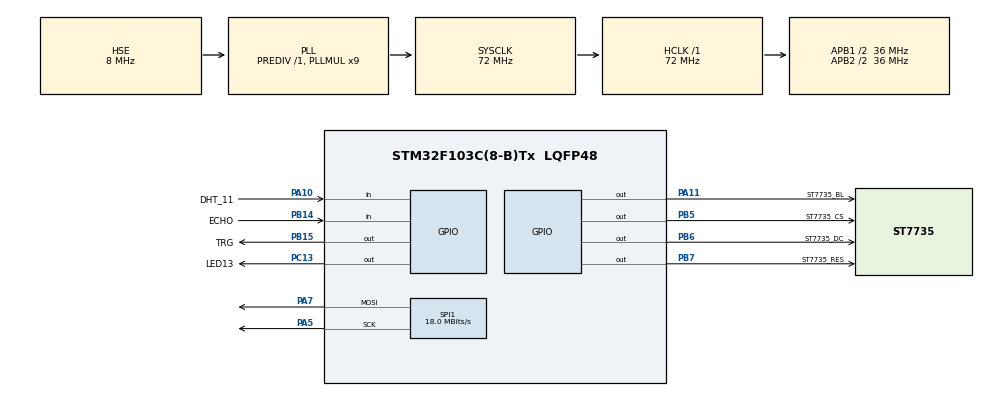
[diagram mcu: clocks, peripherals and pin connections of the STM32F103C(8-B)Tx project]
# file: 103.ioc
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Dma.Request0=SPI1_TX
Dma.SPI1_TX.0.Direction=DMA_MEMORY_TO_PERIPH
Dma.SPI1_TX.0.Instance=DMA1_Channel3
Dma.SPI1_TX.0.MemDataAlignment=DMA_MDATAALIGN_BYTE
Dma.SPI1_TX.0.MemInc=DMA_MINC_ENABLE
Dma.SPI1_TX.0.Mode=DMA_NORMAL
Dma.SPI1_TX.0.PeriphDataAlignment=DMA_PDATAALIGN_BYTE
Dma.SPI1_TX.0.PeriphInc=DMA_PINC_DISABLE
Dma.SPI1_TX.0.Priority=DMA_PRIORITY_LOW
Mcu.Family=STM32F1
Mcu.Name=STM32F103C(8-B)Tx
Mcu.Package=LQFP48
NVIC.DMA1_Channel3_IRQn=true\:0\:0\:false\:false\:true\:false\:true\:true
NVIC.PriorityGroup=NVIC_PRIORITYGROUP_4
NVIC.TIM1_UP_IRQn=true\:0\:0\:false\:false\:true\:true\:true\:true
PA10.GPIO_Label=DHT_11
PA10.GPIO_PuPd=GPIO_PULLUP
PA10.Signal=GPIO_Input
PA11.GPIO_Label=ST7735_BL
PA11.GPIO_PuPd=GPIO_PULLUP
PA11.Signal=GPIO_Output
PA13.Mode=Serial_Wire
PA13.Signal=SYS_JTMS-SWDIO
PA14.Mode=Serial_Wire
PA14.Signal=SYS_JTCK-SWCLK
PA5.Mode=TX_Only_Simplex_Unidirect_Master
PA5.Signal=SPI1_SCK
PA7.Mode=TX_Only_Simplex_Unidirect_Master
PA7.Signal=SPI1_MOSI
PB14.GPIO_Label=ECHO
PB14.Signal=GPIO_Input
PB15.GPIO_Label=TRG
PB15.Signal=GPIO_Output
PB5.GPIO_Label=ST7735_CS
PB5.GPIO_PuPd=GPIO_PULLUP
PB5.Signal=GPIO_Output
PB6.GPIO_Label=ST7735_DC
PB6.GPIO_PuPd=GPIO_PULLUP
PB6.Signal=GPIO_Output
PB7.GPIO_Label=ST7735_RES
PB7.GPIO_PuPd=GPIO_PULLUP
PB7.Signal=GPIO_Output
PC13-TAMPER-RTC.GPIO_Label=LED13
PC13-TAMPER-RTC.Signal=GPIO_Output
PD0-OSC_IN.Mode=HSE-External-Oscillator
PD0-OSC_IN.Signal=RCC_OSC_IN
PD1-OSC_OUT.Mode=HSE-External-Oscillator
PD1-OSC_OUT.Signal=RCC_OSC_OUT
ProjectManager.HeapSize=0x200
ProjectManager.StackSize=0x400
ProjectManager.TargetToolchain=STM32CubeIDE
RCC.AHBFreq_Value=72000000
RCC.APB1CLKDivider=RCC_HCLK_DIV2
RCC.APB1Freq_Value=36000000
RCC.APB1TimFreq_Value=72000000
RCC.APB2CLKDivider=RCC_HCLK_DIV2
RCC.APB2Freq_Value=36000000
RCC.APB2TimFreq_Value=72000000
RCC.HCLKFreq_Value=72000000
RCC.PLLMUL=RCC_PLL_MUL9
RCC.PLLSourceVirtual=RCC_PLLSOURCE_HSE
RCC.SYSCLKFreq_VALUE=72000000
RCC.SYSCLKSource=RCC_SYSCLKSOURCE_PLLCLK
RCC.USBFreq_Value=72000000
SPI1.BaudRatePrescaler=SPI_BAUDRATEPRESCALER_2
SPI1.CalculateBaudRate=18.0 MBits/s
SPI1.Direction=SPI_DIRECTION_2LINES
SPI1.Mode=SPI_MODE_MASTER
SPI1.VirtualType=VM_MASTER
TIM1.Period=50000
TIM1.Prescaler=719
TIM2.Prescaler=71
VP_TIM1_VS_ClockSourceINT.Mode=Internal
VP_TIM2_VS_ClockSourceINT.Mode=Internal
board=custom

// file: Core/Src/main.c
/* USER CODE BEGIN Header */
/**
  ******************************************************************************
  * @file           : main.c
  * @brief          : Main program body
  ******************************************************************************
  * @attention
  *
  * Copyright (c) 2023 STMicroelectronics.
  * All rights reserved.
  *
  * This software is licensed under terms that can be found in the LICENSE file
  * in the root directory of this software component.
  * If no LICENSE file comes with this software, it is provided AS-IS.
  *
  ******************************************************************************
  */
/* USER CODE END Header */
#include "main.h"

/* USER CODE BEGIN Includes */

#include "st7735.h"
#include "st7735_cfg.h"
#include "fonts.h"
#include "testimg.h"
#include "DHT.h"
#include <stdio.h>
#include <string.h>

/* USER CODE END Includes */

 SPI_HandleTypeDef hspi1;
DMA_HandleTypeDef hdma_spi1_tx;

TIM_HandleTypeDef htim1;
TIM_HandleTypeDef htim2;

/* USER CODE BEGIN PV */

uint8_t r = 0;
static DHT_sensor livingRoom = {GPIOA, GPIO_PIN_10, DHT11, GPIO_PULLUP};

/* USER CODE END PV */

void SystemClock_Config(void);
static void MX_GPIO_Init(void);
static void MX_TIM1_Init(void);
static void MX_DMA_Init(void);
static void MX_SPI1_Init(void);
static void MX_TIM2_Init(void);

/* USER CODE BEGIN 0 */
void lcd (void)
{
	 ST7735_SetRotation(r);

	 // Check fonts
	 ST7735_FillScreen(ST7735_BLACK);
	 ST7735_DrawString(0, 0, "Stariy", Font_7x10, ST7735_RED, ST7735_BLACK);
	 ST7735_DrawString(0, 3*10, "and Maks", Font_11x18, ST7735_GREEN, ST7735_BLACK);
	 ST7735_DrawString(0, 3*10+3*18, "Pidors", Font_16x26, ST7735_BLUE, ST7735_BLACK);
	 HAL_Delay(2000);

	 // Check colors
	 ST7735_FillScreen(ST7735_BLACK);
	 ST7735_DrawString(0, 0, "STARIY", Font_11x18, ST7735_WHITE, ST7735_BLACK);
	 HAL_Delay(500);

	 ST7735_FillScreen(ST7735_BLUE);
	 ST7735_DrawString(0, 0, "MAKS", Font_11x18, ST7735_BLACK, ST7735_BLUE);
	 HAL_Delay(500);

	 ST7735_FillScreen(ST7735_RED);
	 ST7735_DrawString(0, 0, "KOLYAN", Font_11x18, ST7735_BLACK, ST7735_RED);
	 HAL_Delay(500);

	 ST7735_FillScreen(ST7735_CYAN);
	 ST7735_DrawString(0, 0, "DANIEL", Font_11x18, ST7735_BLACK, ST7735_CYAN);
	 HAL_Delay(500);

	 ST7735_FillScreen(ST7735_MAGENTA);
	 ST7735_DrawString(0, 0, "BRYAN", Font_11x18, ST7735_BLACK, ST7735_MAGENTA);
	 HAL_Delay(500);

	 ST7735_FillScreen(ST7735_WHITE);
	 ST7735_DrawString(0, 0, "KARTA", Font_11x18, ST7735_BLACK, ST7735_WHITE);
	 HAL_Delay(500);

	 r++;
}
extern unsigned short testImage[];

/* USER CODE END 0 */

int main(void)
{

  /* MCU Configuration--------------------------------------------------------*/

  /* Reset of all peripherals, Initializes the Flash interface and the Systick. */
  HAL_Init();

  /* Configure the system clock */
  SystemClock_Config();

  /* Initialize all configured peripherals */
  MX_GPIO_Init();
  MX_TIM1_Init();
  MX_DMA_Init();
  MX_SPI1_Init();
  MX_TIM2_Init();
  /* USER CODE BEGIN 2 */

  HAL_TIM_Base_Start_IT(&htim1);
  HAL_TIM_Base_Start(&htim2);
  HAL_GPIO_WritePin(TRG_GPIO_Port, TRG_Pin, GPIO_PIN_RESET);
  ST7735_Init();
  ST7735_Backlight_On();
  ST7735_FillScreen(ST7735_WHITE);
  /* USER CODE END 2 */

  /* Infinite loop */
  while (1)
  {

    /* USER CODE BEGIN 3 */

lcd();
  }
  /* USER CODE END 3 */
}

void SystemClock_Config(void)
{
  RCC_OscInitTypeDef RCC_OscInitStruct = {0};
  RCC_ClkInitTypeDef RCC_ClkInitStruct = {0};

  /** Initializes the RCC Oscillators according to the specified parameters
  * in the RCC_OscInitTypeDef structure.
  */
  RCC_OscInitStruct.OscillatorType = RCC_OSCILLATORTYPE_HSE;
  RCC_OscInitStruct.HSEState = RCC_HSE_ON;
  RCC_OscInitStruct.HSEPredivValue = RCC_HSE_PREDIV_DIV1;
  RCC_OscInitStruct.HSIState = RCC_HSI_ON;
  RCC_OscInitStruct.PLL.PLLState = RCC_PLL_ON;
  RCC_OscInitStruct.PLL.PLLSource = RCC_PLLSOURCE_HSE;
  RCC_OscInitStruct.PLL.PLLMUL = RCC_PLL_MUL9;
  if (HAL_RCC_OscConfig(&RCC_OscInitStruct) != HAL_OK)
  {
    Error_Handler();
  }

  /** Initializes the CPU, AHB and APB buses clocks
  */
  RCC_ClkInitStruct.ClockType = RCC_CLOCKTYPE_HCLK|RCC_CLOCKTYPE_SYSCLK
                              |RCC_CLOCKTYPE_PCLK1|RCC_CLOCKTYPE_PCLK2;
  RCC_ClkInitStruct.SYSCLKSource = RCC_SYSCLKSOURCE_PLLCLK;
  RCC_ClkInitStruct.AHBCLKDivider = RCC_SYSCLK_DIV1;
  RCC_ClkInitStruct.APB1CLKDivider = RCC_HCLK_DIV2;
  RCC_ClkInitStruct.APB2CLKDivider = RCC_HCLK_DIV2;

  if (HAL_RCC_ClockConfig(&RCC_ClkInitStruct, FLASH_LATENCY_2) != HAL_OK)
  {
    Error_Handler();
  }
}

static void MX_SPI1_Init(void)
{

  /* SPI1 parameter configuration*/
  hspi1.Instance = SPI1;
  hspi1.Init.Mode = SPI_MODE_MASTER;
  hspi1.Init.Direction = SPI_DIRECTION_2LINES;
  hspi1.Init.DataSize = SPI_DATASIZE_8BIT;
  hspi1.Init.CLKPolarity = SPI_POLARITY_LOW;
  hspi1.Init.CLKPhase = SPI_PHASE_1EDGE;
  hspi1.Init.NSS = SPI_NSS_SOFT;
  hspi1.Init.BaudRatePrescaler = SPI_BAUDRATEPRESCALER_2;
  hspi1.Init.FirstBit = SPI_FIRSTBIT_MSB;
  hspi1.Init.TIMode = SPI_TIMODE_DISABLE;
  hspi1.Init.CRCCalculation = SPI_CRCCALCULATION_DISABLE;
  hspi1.Init.CRCPolynomial = 10;
  if (HAL_SPI_Init(&hspi1) != HAL_OK)
  {
    Error_Handler();
  }

}

static void MX_TIM1_Init(void)
{

  TIM_ClockConfigTypeDef sClockSourceConfig = {0};
  TIM_MasterConfigTypeDef sMasterConfig = {0};

  htim1.Instance = TIM1;
  htim1.Init.Prescaler = 719;
  htim1.Init.CounterMode = TIM_COUNTERMODE_UP;
  htim1.Init.Period = 50000;
  htim1.Init.ClockDivision = TIM_CLOCKDIVISION_DIV1;
  htim1.Init.RepetitionCounter = 0;
  htim1.Init.AutoReloadPreload = TIM_AUTORELOAD_PRELOAD_DISABLE;
  if (HAL_TIM_Base_Init(&htim1) != HAL_OK)
  {
    Error_Handler();
  }
  sClockSourceConfig.ClockSource = TIM_CLOCKSOURCE_INTERNAL;
  if (HAL_TIM_ConfigClockSource(&htim1, &sClockSourceConfig) != HAL_OK)
  {
    Error_Handler();
  }
  sMasterConfig.MasterOutputTrigger = TIM_TRGO_RESET;
  sMasterConfig.MasterSlaveMode = TIM_MASTERSLAVEMODE_DISABLE;
  if (HAL_TIMEx_MasterConfigSynchronization(&htim1, &sMasterConfig) != HAL_OK)
  {
    Error_Handler();
  }

}

static void MX_TIM2_Init(void)
{

  TIM_ClockConfigTypeDef sClockSourceConfig = {0};
  TIM_MasterConfigTypeDef sMasterConfig = {0};

  htim2.Instance = TIM2;
  htim2.Init.Prescaler = 71;
  htim2.Init.CounterMode = TIM_COUNTERMODE_UP;
  htim2.Init.Period = 65535;
  htim2.Init.ClockDivision = TIM_CLOCKDIVISION_DIV1;
  htim2.Init.AutoReloadPreload = TIM_AUTORELOAD_PRELOAD_DISABLE;
  if (HAL_TIM_Base_Init(&htim2) != HAL_OK)
  {
    Error_Handler();
  }
  sClockSourceConfig.ClockSource = TIM_CLOCKSOURCE_INTERNAL;
  if (HAL_TIM_ConfigClockSource(&htim2, &sClockSourceConfig) != HAL_OK)
  {
    Error_Handler();
  }
  sMasterConfig.MasterOutputTrigger = TIM_TRGO_RESET;
  sMasterConfig.MasterSlaveMode = TIM_MASTERSLAVEMODE_DISABLE;
  if (HAL_TIMEx_MasterConfigSynchronization(&htim2, &sMasterConfig) != HAL_OK)
  {
    Error_Handler();
  }

}

static void MX_DMA_Init(void)
{

  /* DMA controller clock enable */
  __HAL_RCC_DMA1_CLK_ENABLE();

  /* DMA interrupt init */
  /* DMA1_Channel3_IRQn interrupt configuration */
  HAL_NVIC_SetPriority(DMA1_Channel3_IRQn, 0, 0);
  HAL_NVIC_EnableIRQ(DMA1_Channel3_IRQn);

}

static void MX_GPIO_Init(void)
{
  GPIO_InitTypeDef GPIO_InitStruct = {0};

  /* GPIO Ports Clock Enable */
  __HAL_RCC_GPIOC_CLK_ENABLE();
  __HAL_RCC_GPIOD_CLK_ENABLE();
  __HAL_RCC_GPIOA_CLK_ENABLE();
  __HAL_RCC_GPIOB_CLK_ENABLE();

  /*Configure GPIO pin Output Level */
  HAL_GPIO_WritePin(LED13_GPIO_Port, LED13_Pin, GPIO_PIN_RESET);

  /*Configure GPIO pin Output Level */
  HAL_GPIO_WritePin(GPIOB, TRG_Pin|ST7735_CS_Pin|ST7735_DC_Pin|ST7735_RES_Pin, GPIO_PIN_RESET);

  /*Configure GPIO pin Output Level */
  HAL_GPIO_WritePin(ST7735_BL_GPIO_Port, ST7735_BL_Pin, GPIO_PIN_RESET);

  /*Configure GPIO pin : LED13_Pin */
  GPIO_InitStruct.Pin = LED13_Pin;
  GPIO_InitStruct.Mode = GPIO_MODE_OUTPUT_PP;
  GPIO_InitStruct.Pull = GPIO_NOPULL;
  GPIO_InitStruct.Speed = GPIO_SPEED_FREQ_LOW;
  HAL_GPIO_Init(LED13_GPIO_Port, &GPIO_InitStruct);

  /*Configure GPIO pin : ECHO_Pin */
  GPIO_InitStruct.Pin = ECHO_Pin;
  GPIO_InitStruct.Mode = GPIO_MODE_INPUT;
  GPIO_InitStruct.Pull = GPIO_NOPULL;
  HAL_GPIO_Init(ECHO_GPIO_Port, &GPIO_InitStruct);

  /*Configure GPIO pin : TRG_Pin */
  GPIO_InitStruct.Pin = TRG_Pin;
  GPIO_InitStruct.Mode = GPIO_MODE_OUTPUT_PP;
  GPIO_InitStruct.Pull = GPIO_NOPULL;
  GPIO_InitStruct.Speed = GPIO_SPEED_FREQ_LOW;
  HAL_GPIO_Init(TRG_GPIO_Port, &GPIO_InitStruct);

  /*Configure GPIO pin : DHT_11_Pin */
  GPIO_InitStruct.Pin = DHT_11_Pin;
  GPIO_InitStruct.Mode = GPIO_MODE_INPUT;
  GPIO_InitStruct.Pull = GPIO_PULLUP;
  HAL_GPIO_Init(DHT_11_GPIO_Port, &GPIO_InitStruct);

  /*Configure GPIO pin : ST7735_BL_Pin */
  GPIO_InitStruct.Pin = ST7735_BL_Pin;
  GPIO_InitStruct.Mode = GPIO_MODE_OUTPUT_PP;
  GPIO_InitStruct.Pull = GPIO_PULLUP;
  GPIO_InitStruct.Speed = GPIO_SPEED_FREQ_LOW;
  HAL_GPIO_Init(ST7735_BL_GPIO_Port, &GPIO_InitStruct);

  /*Configure GPIO pins : ST7735_CS_Pin ST7735_DC_Pin ST7735_RES_Pin */
  GPIO_InitStruct.Pin = ST7735_CS_Pin|ST7735_DC_Pin|ST7735_RES_Pin;
  GPIO_InitStruct.Mode = GPIO_MODE_OUTPUT_PP;
  GPIO_InitStruct.Pull = GPIO_PULLUP;
  GPIO_InitStruct.Speed = GPIO_SPEED_FREQ_LOW;
  HAL_GPIO_Init(GPIOB, &GPIO_InitStruct);

}

void Error_Handler(void)
{
  __disable_irq();
  while (1)
  {
  }
}
